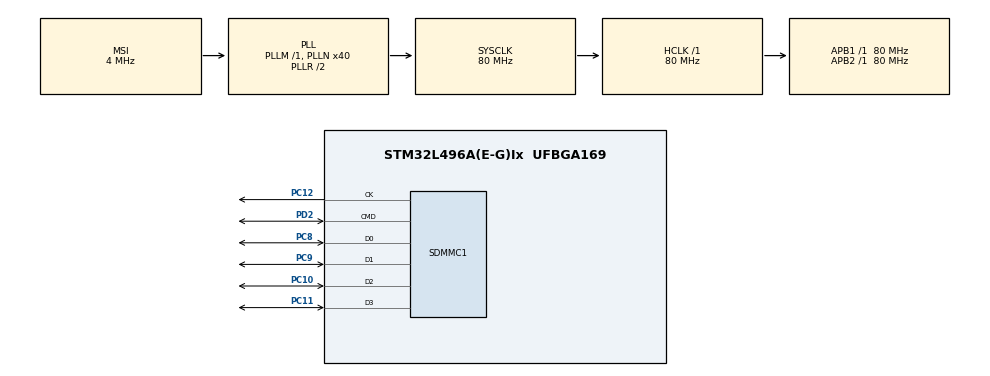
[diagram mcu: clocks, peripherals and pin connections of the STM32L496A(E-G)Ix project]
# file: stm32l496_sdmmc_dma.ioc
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Dma.Request0=SDMMC1_RX
Dma.SDMMC1_RX.0.Direction=DMA_PERIPH_TO_MEMORY
Dma.SDMMC1_RX.0.Instance=DMA2_Channel4
Dma.SDMMC1_RX.0.MemDataAlignment=DMA_MDATAALIGN_WORD
Dma.SDMMC1_RX.0.MemInc=DMA_MINC_ENABLE
Dma.SDMMC1_RX.0.Mode=DMA_NORMAL
Dma.SDMMC1_RX.0.PeriphDataAlignment=DMA_PDATAALIGN_WORD
Dma.SDMMC1_RX.0.PeriphInc=DMA_PINC_DISABLE
Dma.SDMMC1_RX.0.Priority=DMA_PRIORITY_LOW
FATFS.USE_DMA_CODE_SD=1
Mcu.Family=STM32L4
Mcu.Name=STM32L496A(E-G)Ix
Mcu.Package=UFBGA169
NVIC.DMA2_Channel4_IRQn=true\:0\:0\:false\:false\:true\:false\:true\:true
NVIC.PriorityGroup=NVIC_PRIORITYGROUP_4
NVIC.SDMMC1_IRQn=true\:0\:0\:false\:false\:true\:true\:true\:true
PA13\ (JTMS/SWDIO).Mode=Serial_Wire
PA13\ (JTMS/SWDIO).Signal=SYS_JTMS-SWDIO
PA14\ (JTCK/SWCLK).Mode=Serial_Wire
PA14\ (JTCK/SWCLK).Signal=SYS_JTCK-SWCLK
PC10.Mode=SD_4_bits_Wide_bus
PC10.Signal=SDMMC1_D2
PC11.Mode=SD_4_bits_Wide_bus
PC11.Signal=SDMMC1_D3
PC12.Mode=SD_4_bits_Wide_bus
PC12.Signal=SDMMC1_CK
PC8.Mode=SD_4_bits_Wide_bus
PC8.Signal=SDMMC1_D0
PC9.Mode=SD_4_bits_Wide_bus
PC9.Signal=SDMMC1_D1
PD2.Mode=SD_4_bits_Wide_bus
PD2.Signal=SDMMC1_CMD
ProjectManager.HeapSize=0x400
ProjectManager.StackSize=0x800
ProjectManager.TargetToolchain=STM32CubeIDE
RCC.ADCFreq_Value=50000000
RCC.AHBFreq_Value=80000000
RCC.APB1Freq_Value=80000000
RCC.APB1TimFreq_Value=80000000
RCC.APB2Freq_Value=80000000
RCC.APB2TimFreq_Value=80000000
RCC.CortexFreq_Value=80000000
RCC.HCLKFreq_Value=80000000
RCC.HSE_VALUE=8000000
RCC.HSI48_VALUE=48000000
RCC.HSI_VALUE=16000000
RCC.LSE_VALUE=32768
RCC.MSI_VALUE=4000000
RCC.PLLN=40
RCC.PLLSAI1N=25
RCC.SYSCLKFreq_VALUE=80000000
RCC.SYSCLKSource=RCC_SYSCLKSOURCE_PLLCLK
RCC.USBFreq_Value=50000000
RCC.VCOOutputFreq_Value=160000000
VP_FATFS_VS_SDIO.Mode=SDIO
board=custom

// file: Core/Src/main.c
/* USER CODE BEGIN Header */
/**
  ******************************************************************************
  * @file           : main.c
  * @brief          : Main program body
  ******************************************************************************
  * @attention
  *
  * Copyright (c) 2022 STMicroelectronics.
  * All rights reserved.
  *
  * This software is licensed under terms that can be found in the LICENSE file
  * in the root directory of this software component.
  * If no LICENSE file comes with this software, it is provided AS-IS.
  *
  ******************************************************************************
  */
/* USER CODE END Header */
#include "main.h"
#include "fatfs.h"

 SD_HandleTypeDef hsd1;
//DMA_HandleTypeDef hdma_sdmmc1_rx;

void SystemClock_Config(void);
static void MX_GPIO_Init(void);
static void MX_DMA_Init(void);
static void MX_SDMMC1_SD_Init(void);

/* USER CODE BEGIN 0 */
FIL MyFile;     /* File object */
uint8_t workBuffer[_MAX_SS];
void FATFS_Test(void)
{
  FRESULT res = FR_OK; /* FatFs function common result code */
  uint32_t byteswritten, bytesread; /* File write/read counts */
  uint8_t wtext[] = "stm32l496g_discovery : Test..."; /* File write buffer */
  uint8_t rtext[100]; /* File read buffer */

  /* Register the file system object to the FatFs module */
  if (f_mount(&SDFatFS, (TCHAR const*)SDPath, 0) == FR_OK)
  {
    res = f_mkfs(SDPath, FM_ANY, 0, workBuffer, sizeof(workBuffer));

    if (res != FR_OK)
    {
      Error_Handler();
      while (1);
    }

    /* Create and Open a new text file object with write access */
    if (f_open(&MyFile, "STM32_.TXT", FA_CREATE_ALWAYS | FA_WRITE) == FR_OK)
    {
      /* Write data to the text file */
      res = f_write(&MyFile, wtext, sizeof(wtext), (void*)&byteswritten);

      if ((byteswritten > 0) && (res == FR_OK))
      {
        /* Close the open text file */
        f_close(&MyFile);

        /* Open the text file object with read access */
        if (f_open(&MyFile, "STM32_.TXT", FA_READ) == FR_OK)
        {
          /* Read data from the text file */
          res = f_read(&MyFile, rtext, sizeof(rtext), (void*)&bytesread);

          if ((bytesread > 0) && (res == FR_OK))
          {
            /* Close the open text file */
            f_close(&MyFile);

            /* Compare read data with the expected data */
            if ((bytesread == byteswritten))
            {
              /* Success of the demo: no error occurrence */
              return;
            }
          }
        }
      }
    }else{
      Error_Handler();
    }
  }
  else
  {
    /* Error */
    Error_Handler();
  }
}
/* USER CODE END 0 */

int main(void)
{

  /* MCU Configuration--------------------------------------------------------*/

  /* Reset of all peripherals, Initializes the Flash interface and the Systick. */
  HAL_Init();

  /* Configure the system clock */
  SystemClock_Config();

  /* Initialize all configured peripherals */
  MX_GPIO_Init();
  MX_DMA_Init();
  MX_SDMMC1_SD_Init();
  MX_FATFS_Init();
  /* USER CODE BEGIN 2 */
  FATFS_Test();
  /* USER CODE END 2 */

  /* Infinite loop */
  while (1)
  {

  }
}

void SystemClock_Config(void)
{
  RCC_OscInitTypeDef RCC_OscInitStruct = {0};
  RCC_ClkInitTypeDef RCC_ClkInitStruct = {0};

  /** Configure the main internal regulator output voltage
  */
  if (HAL_PWREx_ControlVoltageScaling(PWR_REGULATOR_VOLTAGE_SCALE1) != HAL_OK)
  {
    Error_Handler();
  }

  /** Initializes the RCC Oscillators according to the specified parameters
  * in the RCC_OscInitTypeDef structure.
  */
  RCC_OscInitStruct.OscillatorType = RCC_OSCILLATORTYPE_MSI;
  RCC_OscInitStruct.MSIState = RCC_MSI_ON;
  RCC_OscInitStruct.MSICalibrationValue = 0;
  RCC_OscInitStruct.MSIClockRange = RCC_MSIRANGE_6;
  RCC_OscInitStruct.PLL.PLLState = RCC_PLL_ON;
  RCC_OscInitStruct.PLL.PLLSource = RCC_PLLSOURCE_MSI;
  RCC_OscInitStruct.PLL.PLLM = 1;
  RCC_OscInitStruct.PLL.PLLN = 40;
  RCC_OscInitStruct.PLL.PLLP = RCC_PLLP_DIV2;
  RCC_OscInitStruct.PLL.PLLQ = RCC_PLLQ_DIV2;
  RCC_OscInitStruct.PLL.PLLR = RCC_PLLR_DIV2;
  if (HAL_RCC_OscConfig(&RCC_OscInitStruct) != HAL_OK)
  {
    Error_Handler();
  }

  /** Initializes the CPU, AHB and APB buses clocks
  */
  RCC_ClkInitStruct.ClockType = RCC_CLOCKTYPE_HCLK|RCC_CLOCKTYPE_SYSCLK
                              |RCC_CLOCKTYPE_PCLK1|RCC_CLOCKTYPE_PCLK2;
  RCC_ClkInitStruct.SYSCLKSource = RCC_SYSCLKSOURCE_PLLCLK;
  RCC_ClkInitStruct.AHBCLKDivider = RCC_SYSCLK_DIV1;
  RCC_ClkInitStruct.APB1CLKDivider = RCC_HCLK_DIV1;
  RCC_ClkInitStruct.APB2CLKDivider = RCC_HCLK_DIV1;

  if (HAL_RCC_ClockConfig(&RCC_ClkInitStruct, FLASH_LATENCY_4) != HAL_OK)
  {
    Error_Handler();
  }
}

static void MX_SDMMC1_SD_Init(void)
{

  hsd1.Instance = SDMMC1;
  hsd1.Init.ClockEdge = SDMMC_CLOCK_EDGE_RISING;
  hsd1.Init.ClockBypass = SDMMC_CLOCK_BYPASS_DISABLE;
  hsd1.Init.ClockPowerSave = SDMMC_CLOCK_POWER_SAVE_DISABLE;
  hsd1.Init.BusWide = SDMMC_BUS_WIDE_1B;
  hsd1.Init.HardwareFlowControl = SDMMC_HARDWARE_FLOW_CONTROL_DISABLE;
  hsd1.Init.ClockDiv = 0;

}

static void MX_DMA_Init(void)
{

  /* DMA controller clock enable */
  __HAL_RCC_DMA2_CLK_ENABLE();

  /* DMA interrupt init */
  /* DMA2_Channel4_IRQn interrupt configuration */
  HAL_NVIC_SetPriority(DMA2_Channel4_IRQn, 0, 0);
  HAL_NVIC_EnableIRQ(DMA2_Channel4_IRQn);

}

static void MX_GPIO_Init(void)
{

  /* GPIO Ports Clock Enable */
  __HAL_RCC_GPIOA_CLK_ENABLE();
  __HAL_RCC_GPIOD_CLK_ENABLE();
  __HAL_RCC_GPIOC_CLK_ENABLE();

}

void Error_Handler(void)
{
  __disable_irq();
  while (1)
  {
  }
}
